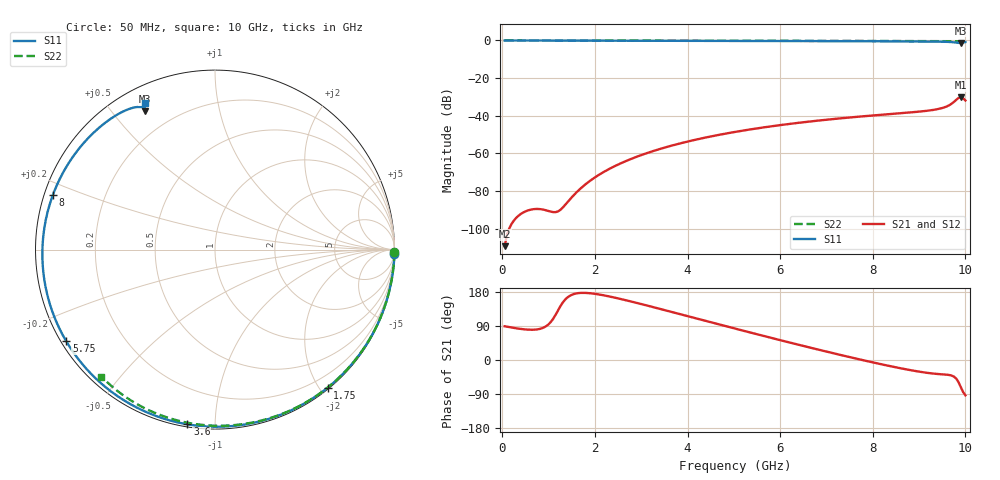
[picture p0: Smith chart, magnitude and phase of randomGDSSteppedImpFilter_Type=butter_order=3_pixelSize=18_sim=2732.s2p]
! freq	dB(S11)	phase(S11)	dB(S12)	phase(S12)
!  dB(S21)	phase(S21)	dB(S22)	phase(S22)
!S-par simulation data
#  GHz  S  DB  R 50
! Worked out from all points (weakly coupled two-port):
!   200 points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, 50 MHz to 10 GHz, reference 50 ohm
!   highest |S21| = -30.10 dB at 9.9 GHz (marker M1); lowest = -109.3 dB at 50 MHz (marker M2)
!   lowest |S11| = -1.3 dB at 9.9 GHz (marker M3), VSWR 13.52, Z = 5.09 + j30.5 ohm
!   |S11| at or under -10 dB: nowhere
!   |S22| runs from -0.4 to 0.0 dB; largest |S21 - S12| = 0
!   S11 on the Smith chart (normalised r, x): 50 MHz: 0, -76; 1.75 GHz: 0.02, -2.11; 3.6 GHz: 0.01, -0.85; 5.75 GHz: 0.01, -0.28; 8 GHz: 0.02, +0.16; 10 GHz: 0.07, +0.63
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0.05  -0.00 -1.5  -109.27 89.0  -109.27 89.0  -0.00 -0.8
0.8  -0.03 -23.6  -89.55 81.8  -89.55 81.8  -0.02 -12.1
1.6  -0.06 -46.6  -80.73 175.7  -80.73 175.7  -0.03 -24.1
1.75  -0.06 -50.8  -77.35 177.2  -77.35 177.2  -0.03 -26.3
2.05  -0.07 -59.0  -71.94 173.7  -71.94 173.7  -0.04 -30.7
2.45  -0.09 -69.8  -66.50 164.0  -66.50 164.0  -0.05 -36.5
2.9  -0.10 -81.5  -61.80 150.8  -61.80 150.8  -0.06 -43.0
3.4  -0.12 -94.1  -57.67 135.1  -57.67 135.1  -0.07 -50.1
3.6  -0.13 -99.0  -56.25 128.7  -56.25 128.7  -0.07 -52.9
4.3  -0.16 -115.6  -52.03 106.1  -52.03 106.1  -0.09 -62.5
5.05  -0.19 -132.8  -48.48 82.2  -48.48 82.2  -0.11 -72.5
5.75  -0.23 -148.3  -45.81 60.2  -45.81 60.2  -0.14 -81.5
6.7  -0.30 -169.2  -42.89 31.1  -42.89 31.1  -0.18 -93.4
7.35  -0.35 176.3  -41.26 12.0  -41.26 12.0  -0.22 -101.2
8  -0.42 161.5  -39.85 -6.3  -39.85 -6.3  -0.26 -108.9
8.35  -0.45 153.3  -39.15 -15.6  -39.15 -15.6  -0.29 -113.0
8.9  -0.52 139.9  -38.04 -28.7  -38.04 -28.7  -0.34 -119.4
9.45  -0.65 125.6  -36.21 -37.4  -36.21 -37.4  -0.39 -125.6
9.65  -0.79 120.0  -34.40 -39.6  -34.40 -39.6  -0.42 -127.8
9.8  -1.12 116.3  -31.58 -48.8  -31.58 -48.8  -0.43 -129.4
9.9  -1.29 116.8  -30.10 -71.2  -30.10 -71.2  -0.42 -130.5
10  -0.86 115.6  -31.88 -93.3  -31.88 -93.3  -0.42 -131.8
